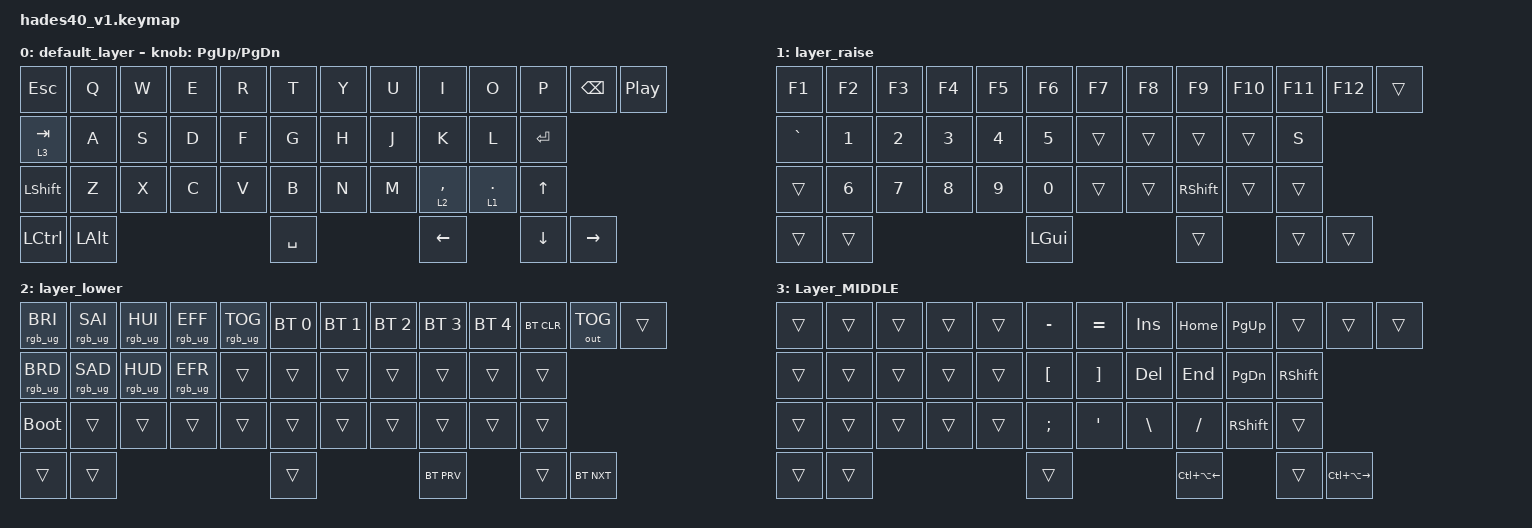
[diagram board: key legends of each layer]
/*
 * Copyright (c) 2020 The ZMK Contributors
 *
 * SPDX-License-Identifier: MIT
 */
/* THIS FILE WAS GENERATED!
 *
 * This file was generated automatically. You may or may not want to
 * edit it directly.
 */

#include <behaviors.dtsi>
#include <dt-bindings/zmk/bt.h>
#include <dt-bindings/zmk/keys.h>
#include <dt-bindings/zmk/outputs.h>
#include <dt-bindings/zmk/rgb.h>

/ {
    macros {
    };

    keymap {
        compatible = "zmk,keymap";

        default_layer {
            bindings = <
&kp ESC    &kp Q     &kp W  &kp E  &kp R  &kp T      &kp Y  &kp U  &kp I        &kp O      &kp P      &kp BSPC   &kp C_PLAY_PAUSE
&lt 3 TAB  &kp A     &kp S  &kp D  &kp F  &kp G      &kp H  &kp J  &kp K        &kp L      &kp ENTER
&kp LSHFT  &kp Z     &kp X  &kp C  &kp V  &kp B      &kp N  &kp M  &lt 2 COMMA  &lt 1 DOT  &kp UP
&kp LCTRL  &kp LALT                       &kp SPACE                &kp LEFT                &kp DOWN   &kp RIGHT
            >;

            sensor-bindings = <&inc_dec_kp PAGE_UP PAGE_DOWN>;
        };

        layer_raise {
            bindings = <
&kp F1     &kp F2  &kp F3  &kp F4  &kp F5  &kp F6        &kp F7  &kp F8  &kp F9           &kp F10  &kp F11  &kp F12  &trans
&kp GRAVE  &kp N1  &kp N2  &kp N3  &kp N4  &kp N5        &trans  &trans  &trans           &trans   &kp S
&trans     &kp N6  &kp N7  &kp N8  &kp N9  &kp N0        &trans  &trans  &kp RIGHT_SHIFT  &trans   &trans
&trans     &trans                          &kp LEFT_GUI                  &trans                    &trans   &trans
            >;
        };

        layer_lower {
            bindings = <
&rgb_ug RGB_BRI  &rgb_ug RGB_SAI  &rgb_ug RGB_HUI  &rgb_ug RGB_EFF  &rgb_ug RGB_TOG  &bt BT_SEL 0  &bt BT_SEL 1  &bt BT_SEL 2  &bt BT_SEL 3  &bt BT_SEL 4  &bt BT_CLR  &out OUT_TOG  &trans
&rgb_ug RGB_BRD  &rgb_ug RGB_SAD  &rgb_ug RGB_HUD  &rgb_ug RGB_EFR  &trans           &trans        &trans        &trans        &trans        &trans        &trans
&bootloader      &trans           &trans           &trans           &trans           &trans        &trans        &trans        &trans        &trans        &trans
&trans           &trans                                                              &trans                                    &bt BT_PRV                  &trans      &bt BT_NXT
            >;
        };

        Layer_MIDDLE {
            bindings = <
&trans  &trans  &trans  &trans  &trans  &kp MINUS         &kp EQUAL          &kp INS        &kp HOME                &kp PAGE_UP      &trans           &trans                   &trans
&trans  &trans  &trans  &trans  &trans  &kp LEFT_BRACKET  &kp RIGHT_BRACKET  &kp DEL        &kp END                 &kp PAGE_DOWN    &kp RIGHT_SHIFT
&trans  &trans  &trans  &trans  &trans  &kp SEMICOLON     &kp SINGLE_QUOTE   &kp BACKSLASH  &kp SLASH               &kp RIGHT_SHIFT  &trans
&trans  &trans                          &trans                                              &kp LC(LA(LEFT_ARROW))                   &trans           &kp LC(LA(RIGHT_ARROW))
            >;
        };
    };
};
